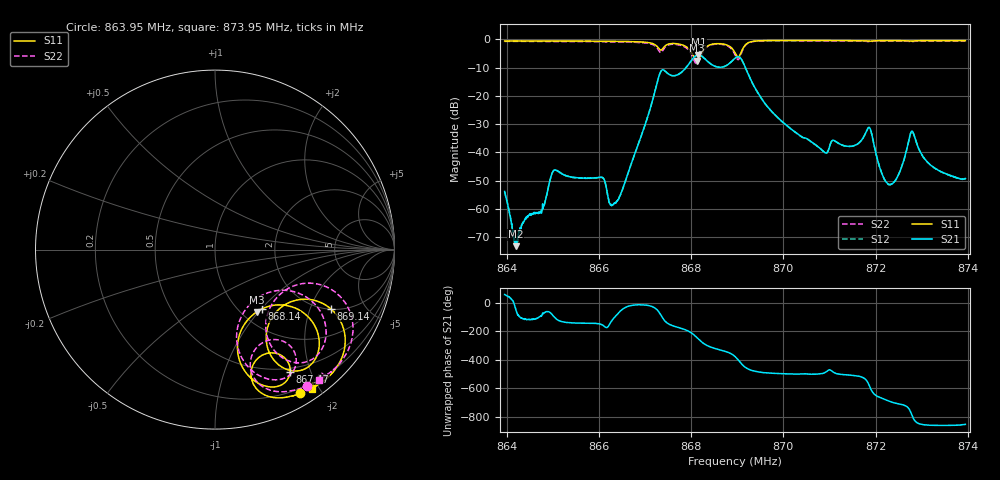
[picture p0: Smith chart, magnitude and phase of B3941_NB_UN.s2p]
! Matrix data file written by TouchstoneData, EPCOS AG
! FILENAME: "B3941_NB.s2p"
! COMMENT: "S-parameter B3941 wideband (unmatched)"
! INFO: nport=2, nfreq=1601
! DATE: "Mon Sep  5 16:36:04 2011"
! USER: "Eluer Wang"
! port | pin | signal
!  1  |  1  |  in
!  2  |  4  |  out
# MHZ S MA R 50
! freq  magS11 angS11  magS21 angS21  magS12 angS12  magS22 angS22
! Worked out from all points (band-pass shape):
!   1601 points, 863.95 MHz to 873.95 MHz, reference 50 ohm
!   highest |S21| = -5.52 dB at 868.16 MHz (marker M1); lowest = -73.2 dB at 864.19 MHz (marker M2)
!   |S21| within 3 dB of the highest: 867.9588 MHz to 868.4054 MHz (446.6 kHz wide, 0.0514 % of centre); 868.8317 MHz to 869.1349 MHz (303.2 kHz wide, 0.0349 % of centre)
!   lowest |S11| = -7.6 dB at 868.12 MHz (marker M3), VSWR 2.43, Z = 58.2 - j48.9 ohm
!   |S11| at or under -10 dB: nowhere
!   |S22| runs from -8.9 to -0.5 dB; largest |S21 - S12| = 0.003
!   S11 on the Smith chart (normalised r, x): 863.95 MHz: 0.15, -1.75; 867.47 MHz: 0.45, -1.70; 868.14 MHz: 1.25, -1.01; 869.14 MHz: 2.03, -2.80; 873.95 MHz: 0.14, -1.90
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863.95  0.931 -59.3  0.002033 57.9  0.002023 59.1  0.9159 -55.9
864.1938  0.9314 -59.6  0.0002199 -49.0  0.0002364 -46.3  0.9166 -56.3
864.7625  0.9292 -60.2  0.0009778 -83.8  0.0009363 -83.2  0.9138 -57.0
865.0188  0.9253 -60.4  0.004813 -97.1  0.00478 -96.6  0.9094 -57.3
865.6188  0.9252 -61.4  0.003524 -142.9  0.003492 -142.5  0.9088 -58.3
866.3875  0.9163 -63.5  0.001385 -84.7  0.001359 -83.3  0.898 -60.9
867.2875  0.7 -73.1  0.2063 -60.0  0.2056 -59.5  0.6458 -72.1
867.4688  0.798 -58.3  0.2573 -139.6  0.2565 -139.1  0.7669 -53.8
867.85  0.7683 -73.0  0.2913 173.4  0.2905 173.8  0.7357 -71.2
868.125  0.4177 -56.1  0.5239 115.0  0.5238 115.2  0.3579 -50.2
868.1375  0.4209 -51.9  0.5277 111.1  0.5276 111.3  0.3638 -44.9
868.1562  0.4373 -46.1  0.5299 105.2  0.5294 105.5  0.3863 -37.9
868.4  0.7916 -42.8  0.3782 51.8  0.3774 52.2  0.7772 -37.2
868.95  0.5785 -60.4  0.4629 -17.2  0.4623 -16.9  0.5327 -57.8
869.1375  0.723 -27.1  0.3712 -83.7  0.3706 -83.3  0.7024 -19.3
869.7  0.9487 -46.5  0.05828 -133.4  0.05804 -132.8  0.9399 -41.6
870.6188  0.9485 -51.9  0.01513 -141.4  0.01507 -141.0  0.9371 -47.7
871.8625  0.9206 -54.0  0.02758 140.1  0.02747 140.6  0.9057 -50.0
872.2875  0.9443 -54.2  0.002703 30.1  0.002681 31.2  0.932 -50.3
872.7938  0.9239 -54.2  0.02371 -71.9  0.02362 -71.3  0.909 -50.2
873.1875  0.9441 -54.6  0.006056 -140.0  0.006014 -138.8  0.9312 -50.8
873.95  0.943 -55.2  0.003449 -133.9  0.003422 -133.3  0.9296 -51.5
